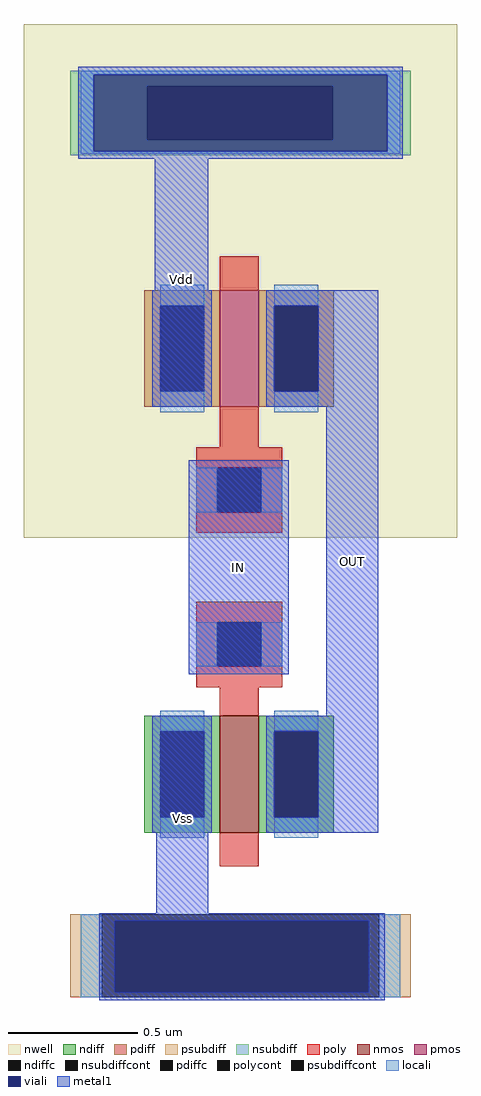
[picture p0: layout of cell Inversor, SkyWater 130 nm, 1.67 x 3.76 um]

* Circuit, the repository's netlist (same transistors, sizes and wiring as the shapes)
* NGSPICE file created from /home/designer/icdesign/mag/inv/Inversor.ext - technology: sky130A

.subckt sky130_fd_pr__nfet_01v8_PDE3P4 a_n33_36# a_15_n76# a_n73_n76# VSUBS
X0 a_15_n76# a_n33_36# a_n73_n76# VSUBS sky130_fd_pr__nfet_01v8 ad=1.305e+11p pd=1.48e+06u as=1.305e+11p ps=1.48e+06u w=450000u l=150000u
.ends

.subckt sky130_fd_pr__pfet_01v8_A9BS5R a_n73_n9# a_15_n9# a_n33_n106# w_n109_n109#
X0 a_15_n9# a_n33_n106# a_n73_n9# w_n109_n109# sky130_fd_pr__pfet_01v8 ad=1.305e+11p pd=1.48e+06u as=1.305e+11p ps=1.48e+06u w=450000u l=150000u
.ends


* Top level circuit /home/designer/icdesign/mag/inv/Inversor

Xsky130_fd_pr__nfet_01v8_PDE3P4_0 IN OUT sky130_fd_pr__pfet_01v8_A9BS5R_0/VSUBS sky130_fd_pr__pfet_01v8_A9BS5R_0/VSUBS
+ sky130_fd_pr__nfet_01v8_PDE3P4
Xsky130_fd_pr__pfet_01v8_A9BS5R_0 Vdd OUT IN Vdd sky130_fd_pr__pfet_01v8_A9BS5R
.end

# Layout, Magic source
magic
tech sky130A
magscale 1 2
<< nwell >>
rect -81 -313 253 83
<< psubdiff >>
rect -45 -667 -21 -603
rect 193 -667 217 -603
<< nsubdiff >>
rect -45 35 217 47
rect -45 -6 14 35
rect 157 -6 217 35
rect -45 -18 217 -6
<< psubdiffcont >>
rect -21 -667 193 -603
<< nsubdiffcont >>
rect 14 -6 157 35
<< locali >>
rect -37 44 209 47
rect -37 -15 -27 44
rect 199 -15 209 44
rect -37 -17 209 -15
rect -37 -667 -21 -603
rect 193 -667 209 -603
<< viali >>
rect -27 35 199 44
rect -27 -6 14 35
rect 14 -6 157 35
rect 157 -6 199 35
rect -27 -15 199 -6
rect -11 -663 185 -608
<< metal1 >>
rect -39 44 211 50
rect -39 -15 -27 44
rect 199 -15 211 44
rect -39 -21 211 -15
rect 20 -209 61 -21
rect 46 -418 123 -253
rect 21 -602 61 -455
rect 152 -540 192 -122
rect -23 -608 197 -602
rect -23 -663 -11 -608
rect 185 -663 197 -608
rect -23 -669 197 -663
use sky130_fd_pr__nfet_01v8_PDE3P4  sky130_fd_pr__nfet_01v8_PDE3P4_0
transform 1 0 85 0 1 -464
box -73 -102 73 102
use sky130_fd_pr__pfet_01v8_A9BS5R  sky130_fd_pr__pfet_01v8_A9BS5R_0
transform 1 0 85 0 1 -203
box -109 -109 109 143
<< labels >>
rlabel nwell 20 -212 61 -15 1 Vdd
rlabel space 21 -608 61 -450 1 Vss
rlabel metal1 46 -418 123 -253 1 IN
rlabel metal1 152 -540 192 -122 1 OUT
<< end >>

# cell sky130_fd_pr__nfet_01v8_PDE3P4: kit device sky130_fd_pr__nfet_01v8, w 0.45 l 0.150 m 1 nf 1 diffcov 100 polycov 100 guard 0 glc 0 grc 0 gtc 0 gbc 0 tbcov 100 rlcov 100 topc 1 botc 0 poverlap 0 doverlap 1 lmin 0.15 wmin 0.42 compatible {sky130_fd_pr__nfet_01v8 sky130_fd_pr__nfet_01v8_lvt sky130_fd_bs_flash__special_sonosfet_star sky130_fd_pr__nfet_g5v0d10v5 sky130_fd_pr__nfet_05v0_nvt sky130_fd_pr__nfet_03v3_nvt} full_metal 0 viasrc 100 viadrn 100 viagate 100 viagb 0 viagr 0 viagl 0 viagt 0

# cell sky130_fd_pr__pfet_01v8_A9BS5R: kit device sky130_fd_pr__pfet_01v8, w 0.45 l 0.15 m 1 nf 1 diffcov 100 polycov 100 guard 0 glc 0 grc 0 gtc 0 gbc 0 tbcov 100 rlcov 100 topc 0 botc 1 poverlap 0 doverlap 1 lmin 0.15 wmin 0.42 compatible {sky130_fd_pr__pfet_01v8 sky130_fd_pr__pfet_01v8_lvt sky130_fd_pr__pfet_01v8_hvt sky130_fd_pr__pfet_g5v0d10v5} full_metal 0 viasrc 100 viadrn 100 viagate 100 viagb 0 viagr 0 viagl 0 viagt 0
